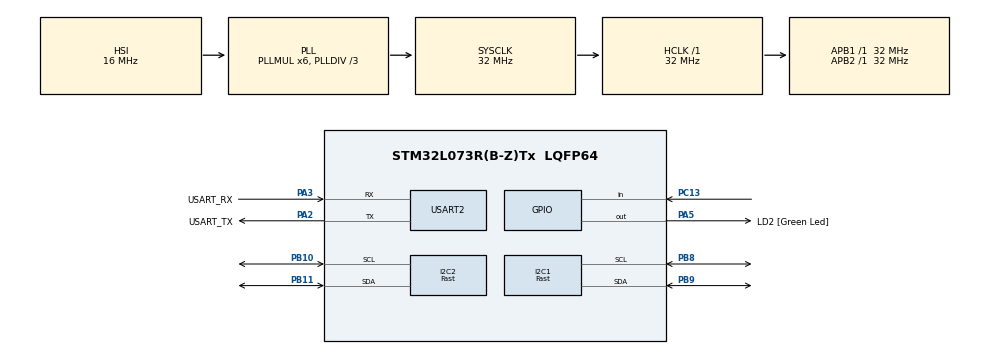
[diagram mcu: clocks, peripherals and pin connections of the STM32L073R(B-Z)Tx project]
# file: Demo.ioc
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FREERTOS.BinarySemaphores01=sem,Dynamic,NULL
FREERTOS.Queues01=Cnt_Queue,2,uint16_t,0,Dynamic,NULL,NULL
FREERTOS.Tasks01=defaultTask,0,128,StartDefaultTask,Default,NULL,Dynamic,NULL,NULL;Counter,0,128,CntHandle,Default,NULL,Dynamic,NULL,NULL;OLED_Driver,1,128,OLED_Handler,Default,NULL,Dynamic,NULL,NULL;led_on,0,128,ledOn,Default,NULL,Dynamic,NULL,NULL;led_off,0,128,ledOFF,Default,NULL,Dynamic,NULL,NULL
FREERTOS.configTOTAL_HEAP_SIZE=4096
I2C1.I2C_Speed_Mode=I2C_Fast
I2C1.Timing=0x0010061A
I2C2.I2C_Speed_Mode=I2C_Fast
I2C2.Timing=0x00300F38
Mcu.Family=STM32L0
Mcu.Name=STM32L073R(B-Z)Tx
Mcu.Package=LQFP64
NVIC.TIM7_IRQn=true\:0\:0\:false\:false\:true\:false\:false\:true
NVIC.TimeBase=TIM7_IRQn
NVIC.TimeBaseIP=TIM7
PA13.GPIO_Label=TMS
PA13.Mode=Serial_Wire
PA13.Signal=SYS_SWDIO
PA14.GPIO_Label=TCK
PA14.Mode=Serial_Wire
PA14.Signal=SYS_SWCLK
PA2.GPIO_Label=USART_TX
PA2.Mode=Asynchronous
PA2.Signal=USART2_TX
PA3.GPIO_Label=USART_RX
PA3.Mode=Asynchronous
PA3.Signal=USART2_RX
PA5.GPIO_Label=LD2 [Green Led]
PA5.Signal=GPIO_Output
PB10.Mode=I2C
PB10.Signal=I2C2_SCL
PB11.Mode=I2C
PB11.Signal=I2C2_SDA
PB8.Mode=I2C
PB8.Signal=I2C1_SCL
PB9.Mode=I2C
PB9.Signal=I2C1_SDA
PC13.GPIO_PuPd=GPIO_PULLUP
PC13.Signal=GPIO_Input
PC14-OSC32_IN.Mode=LSE-External-Oscillator
PC14-OSC32_IN.Signal=RCC_OSC32_IN
PC15-OSC32_OUT.Mode=LSE-External-Oscillator
PC15-OSC32_OUT.Signal=RCC_OSC32_OUT
PH0-OSC_IN.GPIO_Label=MCO
PH0-OSC_IN.Mode=HSE-External-Clock-Source
PH0-OSC_IN.Signal=RCC_OSC_IN
ProjectManager.HeapSize=0x200
ProjectManager.StackSize=0x400
ProjectManager.TargetToolchain=MDK-ARM V5
RCC.ADCFreq_Value=16000000
RCC.AHBFreq_Value=32000000
RCC.APB1Freq_Value=32000000
RCC.APB1TimFreq_Value=32000000
RCC.APB2Freq_Value=32000000
RCC.APB2TimFreq_Value=32000000
RCC.HCLKFreq_Value=32000000
RCC.HSE_VALUE=8000000
RCC.HSI16_VALUE=16000000
RCC.HSI48_VALUE=48000000
RCC.HSI_VALUE=16000000
RCC.I2c1ClockSelection=RCC_I2C1CLKSOURCE_HSI
RCC.MSI_VALUE=2097000
RCC.PLLDIV=RCC_PLLDIV_3
RCC.PLLMUL=RCC_PLLMUL_6
RCC.RTCClockSelection=RCC_RTCCLKSOURCE_LSE
RCC.RTCClockSelectionVirtual=RCC_RTCCLKSOURCE_LSE
RCC.SYSCLKFreq_VALUE=32000000
RCC.SYSCLKSource=RCC_SYSCLKSOURCE_PLLCLK
RCC.VCOOutputFreq_Value=96000000
RTC.Date=21
RTC.Hours=14
RTC.Minutes=50
RTC.Month=RTC_MONTH_DECEMBER
RTC.WeekDay=RTC_WEEKDAY_MONDAY
USART2.VirtualMode-Asynchronous=VM_ASYNC
VP_FREERTOS_VS_CMSIS_V1.Mode=CMSIS_V1
VP_RTC_VS_RTC_Activate.Mode=RTC_Enabled
VP_RTC_VS_RTC_Calendar.Mode=RTC_Calendar
VP_SYS_VS_tim7.Mode=TIM7
board=NUCLEO-L073RZ

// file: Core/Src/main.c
/* USER CODE BEGIN Header */
/**
  ******************************************************************************
  * @file           : main.c
  * @brief          : Main program body
  ******************************************************************************
  * @attention
  *
  * <h2><center>&copy; Copyright (c) 2020 STMicroelectronics.
  * All rights reserved.</center></h2>
  *
  * This software component is licensed by ST under BSD 3-Clause license,
  * the "License"; You may not use this file except in compliance with the
  * License. You may obtain a copy of the License at:
  *                        opensource.org/licenses/BSD-3-Clause
  *
  ******************************************************************************
  */
/* USER CODE END Header */
#include "main.h"
#include "cmsis_os.h"

/* USER CODE BEGIN PTD */
#include "fonts.h"
#include "ssd1306.h"
#include "print.h"
/* USER CODE END PTD */

I2C_HandleTypeDef hi2c1;
I2C_HandleTypeDef hi2c2;

RTC_HandleTypeDef hrtc;

UART_HandleTypeDef huart2;

osThreadId defaultTaskHandle;
osThreadId CounterHandle;
osThreadId OLED_DriverHandle;
osThreadId led_onHandle;
osThreadId led_offHandle;
osMessageQId Cnt_QueueHandle;
osSemaphoreId semHandle;
/* USER CODE BEGIN PV */
#include <stdbool.h>
/* USER CODE END PV */

void SystemClock_Config(void);
static void MX_GPIO_Init(void);
static void MX_USART2_UART_Init(void);
static void MX_I2C1_Init(void);
static void MX_RTC_Init(void);
static void MX_I2C2_Init(void);
void StartDefaultTask(void const * argument);
void CntHandle(void const * argument);
void OLED_Handler(void const * argument);
void ledOn(void const * argument);
void ledOFF(void const * argument);

/* USER CODE BEGIN 0 */
RTC_DateTypeDef gDate;
RTC_TimeTypeDef gTime;
static void clock(void);
bool toggle = true;
/* USER CODE END 0 */

int main(void)
{

  /* MCU Configuration--------------------------------------------------------*/

  /* Reset of all peripherals, Initializes the Flash interface and the Systick. */
  HAL_Init();

  /* Configure the system clock */
  SystemClock_Config();

  /* Initialize all configured peripherals */
  MX_GPIO_Init();
  MX_USART2_UART_Init();
  MX_I2C1_Init();
  MX_RTC_Init();
  MX_I2C2_Init();
  /* USER CODE BEGIN 2 */
	SSD1306_Init();

  /* USER CODE END 2 */

  /* Create the semaphores(s) */
  /* definition and creation of sem */
  osSemaphoreDef(sem);
  semHandle = osSemaphoreCreate(osSemaphore(sem), 1);

  /* Create the queue(s) */
  /* definition and creation of Cnt_Queue */
  osMessageQDef(Cnt_Queue, 2, uint16_t);
  Cnt_QueueHandle = osMessageCreate(osMessageQ(Cnt_Queue), NULL);

  /* Create the thread(s) */
  /* definition and creation of defaultTask */
  osThreadDef(defaultTask, StartDefaultTask, osPriorityNormal, 0, 128);
  defaultTaskHandle = osThreadCreate(osThread(defaultTask), NULL);

  /* definition and creation of Counter */
  osThreadDef(Counter, CntHandle, osPriorityNormal, 0, 128);
  CounterHandle = osThreadCreate(osThread(Counter), NULL);

  /* definition and creation of OLED_Driver */
  osThreadDef(OLED_Driver, OLED_Handler, osPriorityAboveNormal, 0, 128);
  OLED_DriverHandle = osThreadCreate(osThread(OLED_Driver), NULL);

  /* definition and creation of led_on */
  osThreadDef(led_on, ledOn, osPriorityNormal, 0, 128);
  led_onHandle = osThreadCreate(osThread(led_on), NULL);

  /* definition and creation of led_off */
  osThreadDef(led_off, ledOFF, osPriorityNormal, 0, 128);
  led_offHandle = osThreadCreate(osThread(led_off), NULL);

  /* Start scheduler */
  osKernelStart();

  /* We should never get here as control is now taken by the scheduler */
  /* Infinite loop */
  while (1)
  {

  }
}

void SystemClock_Config(void)
{
  RCC_OscInitTypeDef RCC_OscInitStruct = {0};
  RCC_ClkInitTypeDef RCC_ClkInitStruct = {0};
  RCC_PeriphCLKInitTypeDef PeriphClkInit = {0};

  /** Configure the main internal regulator output voltage
  */
  __HAL_PWR_VOLTAGESCALING_CONFIG(PWR_REGULATOR_VOLTAGE_SCALE1);
  /** Configure LSE Drive Capability
  */
  HAL_PWR_EnableBkUpAccess();
  __HAL_RCC_LSEDRIVE_CONFIG(RCC_LSEDRIVE_LOW);
  /** Initializes the RCC Oscillators according to the specified parameters
  * in the RCC_OscInitTypeDef structure.
  */
  RCC_OscInitStruct.OscillatorType = RCC_OSCILLATORTYPE_HSI|RCC_OSCILLATORTYPE_LSE;
  RCC_OscInitStruct.LSEState = RCC_LSE_ON;
  RCC_OscInitStruct.HSIState = RCC_HSI_ON;
  RCC_OscInitStruct.HSICalibrationValue = RCC_HSICALIBRATION_DEFAULT;
  RCC_OscInitStruct.PLL.PLLState = RCC_PLL_ON;
  RCC_OscInitStruct.PLL.PLLSource = RCC_PLLSOURCE_HSI;
  RCC_OscInitStruct.PLL.PLLMUL = RCC_PLLMUL_6;
  RCC_OscInitStruct.PLL.PLLDIV = RCC_PLLDIV_3;
  if (HAL_RCC_OscConfig(&RCC_OscInitStruct) != HAL_OK)
  {
    Error_Handler();
  }
  /** Initializes the CPU, AHB and APB buses clocks
  */
  RCC_ClkInitStruct.ClockType = RCC_CLOCKTYPE_HCLK|RCC_CLOCKTYPE_SYSCLK
                              |RCC_CLOCKTYPE_PCLK1|RCC_CLOCKTYPE_PCLK2;
  RCC_ClkInitStruct.SYSCLKSource = RCC_SYSCLKSOURCE_PLLCLK;
  RCC_ClkInitStruct.AHBCLKDivider = RCC_SYSCLK_DIV1;
  RCC_ClkInitStruct.APB1CLKDivider = RCC_HCLK_DIV1;
  RCC_ClkInitStruct.APB2CLKDivider = RCC_HCLK_DIV1;

  if (HAL_RCC_ClockConfig(&RCC_ClkInitStruct, FLASH_LATENCY_1) != HAL_OK)
  {
    Error_Handler();
  }
  PeriphClkInit.PeriphClockSelection = RCC_PERIPHCLK_USART2|RCC_PERIPHCLK_I2C1
                              |RCC_PERIPHCLK_RTC;
  PeriphClkInit.Usart2ClockSelection = RCC_USART2CLKSOURCE_PCLK1;
  PeriphClkInit.I2c1ClockSelection = RCC_I2C1CLKSOURCE_HSI;
  PeriphClkInit.RTCClockSelection = RCC_RTCCLKSOURCE_LSE;
  if (HAL_RCCEx_PeriphCLKConfig(&PeriphClkInit) != HAL_OK)
  {
    Error_Handler();
  }
}

static void MX_I2C1_Init(void)
{

  hi2c1.Instance = I2C1;
  hi2c1.Init.Timing = 0x0010061A;
  hi2c1.Init.OwnAddress1 = 0;
  hi2c1.Init.AddressingMode = I2C_ADDRESSINGMODE_7BIT;
  hi2c1.Init.DualAddressMode = I2C_DUALADDRESS_DISABLE;
  hi2c1.Init.OwnAddress2 = 0;
  hi2c1.Init.OwnAddress2Masks = I2C_OA2_NOMASK;
  hi2c1.Init.GeneralCallMode = I2C_GENERALCALL_DISABLE;
  hi2c1.Init.NoStretchMode = I2C_NOSTRETCH_DISABLE;
  if (HAL_I2C_Init(&hi2c1) != HAL_OK)
  {
    Error_Handler();
  }
  /** Configure Analogue filter
  */
  if (HAL_I2CEx_ConfigAnalogFilter(&hi2c1, I2C_ANALOGFILTER_ENABLE) != HAL_OK)
  {
    Error_Handler();
  }
  /** Configure Digital filter
  */
  if (HAL_I2CEx_ConfigDigitalFilter(&hi2c1, 0) != HAL_OK)
  {
    Error_Handler();
  }

}

static void MX_I2C2_Init(void)
{

  hi2c2.Instance = I2C2;
  hi2c2.Init.Timing = 0x00300F38;
  hi2c2.Init.OwnAddress1 = 0;
  hi2c2.Init.AddressingMode = I2C_ADDRESSINGMODE_7BIT;
  hi2c2.Init.DualAddressMode = I2C_DUALADDRESS_DISABLE;
  hi2c2.Init.OwnAddress2 = 0;
  hi2c2.Init.OwnAddress2Masks = I2C_OA2_NOMASK;
  hi2c2.Init.GeneralCallMode = I2C_GENERALCALL_DISABLE;
  hi2c2.Init.NoStretchMode = I2C_NOSTRETCH_DISABLE;
  if (HAL_I2C_Init(&hi2c2) != HAL_OK)
  {
    Error_Handler();
  }
  /** Configure Analogue filter
  */
  if (HAL_I2CEx_ConfigAnalogFilter(&hi2c2, I2C_ANALOGFILTER_ENABLE) != HAL_OK)
  {
    Error_Handler();
  }
  /** Configure Digital filter
  */
  if (HAL_I2CEx_ConfigDigitalFilter(&hi2c2, 0) != HAL_OK)
  {
    Error_Handler();
  }

}

static void MX_RTC_Init(void)
{

  RTC_TimeTypeDef sTime = {0};
  RTC_DateTypeDef sDate = {0};

  /** Initialize RTC Only
  */
  hrtc.Instance = RTC;
  hrtc.Init.HourFormat = RTC_HOURFORMAT_24;
  hrtc.Init.AsynchPrediv = 127;
  hrtc.Init.SynchPrediv = 255;
  hrtc.Init.OutPut = RTC_OUTPUT_DISABLE;
  hrtc.Init.OutPutRemap = RTC_OUTPUT_REMAP_NONE;
  hrtc.Init.OutPutPolarity = RTC_OUTPUT_POLARITY_HIGH;
  hrtc.Init.OutPutType = RTC_OUTPUT_TYPE_OPENDRAIN;
  if (HAL_RTC_Init(&hrtc) != HAL_OK)
  {
    Error_Handler();
  }

  /** Initialize RTC and set the Time and Date
  */
  sTime.Hours = 0x3;
  sTime.Minutes = 0x00;
  sTime.Seconds = 0x0;
  sTime.DayLightSaving = RTC_DAYLIGHTSAVING_NONE;
  sTime.StoreOperation = RTC_STOREOPERATION_RESET;
  if (HAL_RTC_SetTime(&hrtc, &sTime, RTC_FORMAT_BCD) != HAL_OK)
  {
    Error_Handler();
  }
  sDate.WeekDay = RTC_WEEKDAY_MONDAY;
  sDate.Month = RTC_MONTH_JANUARY;
  sDate.Date = 0x18;
  sDate.Year = 0x21;

  if (HAL_RTC_SetDate(&hrtc, &sDate, RTC_FORMAT_BCD) != HAL_OK)
  {
    Error_Handler();
  }

}

static void MX_USART2_UART_Init(void)
{

  huart2.Instance = USART2;
  huart2.Init.BaudRate = 115200;
  huart2.Init.WordLength = UART_WORDLENGTH_8B;
  huart2.Init.StopBits = UART_STOPBITS_1;
  huart2.Init.Parity = UART_PARITY_NONE;
  huart2.Init.Mode = UART_MODE_TX_RX;
  huart2.Init.HwFlowCtl = UART_HWCONTROL_NONE;
  huart2.Init.OverSampling = UART_OVERSAMPLING_16;
  huart2.Init.OneBitSampling = UART_ONE_BIT_SAMPLE_DISABLE;
  huart2.AdvancedInit.AdvFeatureInit = UART_ADVFEATURE_NO_INIT;
  if (HAL_UART_Init(&huart2) != HAL_OK)
  {
    Error_Handler();
  }

}

static void MX_GPIO_Init(void)
{
  GPIO_InitTypeDef GPIO_InitStruct = {0};

  /* GPIO Ports Clock Enable */
  __HAL_RCC_GPIOC_CLK_ENABLE();
  __HAL_RCC_GPIOH_CLK_ENABLE();
  __HAL_RCC_GPIOA_CLK_ENABLE();
  __HAL_RCC_GPIOB_CLK_ENABLE();

  /*Configure GPIO pin Output Level */
  HAL_GPIO_WritePin(LD2_GPIO_Port, LD2_Pin, GPIO_PIN_RESET);

  /*Configure GPIO pin : PC13 */
  GPIO_InitStruct.Pin = GPIO_PIN_13;
  GPIO_InitStruct.Mode = GPIO_MODE_INPUT;
  GPIO_InitStruct.Pull = GPIO_PULLUP;
  HAL_GPIO_Init(GPIOC, &GPIO_InitStruct);

  /*Configure GPIO pin : LD2_Pin */
  GPIO_InitStruct.Pin = LD2_Pin;
  GPIO_InitStruct.Mode = GPIO_MODE_OUTPUT_PP;
  GPIO_InitStruct.Pull = GPIO_NOPULL;
  GPIO_InitStruct.Speed = GPIO_SPEED_FREQ_LOW;
  HAL_GPIO_Init(LD2_GPIO_Port, &GPIO_InitStruct);

}

/* USER CODE BEGIN 4 */
static void clock(){

	 /* Get the RTC current Time */
	  HAL_RTC_GetTime(&hrtc, &gTime, RTC_FORMAT_BIN);
	 /* Get the RTC current Date */
	  HAL_RTC_GetDate(&hrtc, &gDate, RTC_FORMAT_BIN);

	  SSD1306_Clear();
	  SSD1306_GotoXY (15,0);
		char data[16];

		if(toggle) sprintf(data, "%02d:%02d",gTime.Hours,gTime.Minutes);
	  else sprintf(data, "%02d %02d",gTime.Hours,gTime.Minutes);
	  SSD1306_Puts(data,&Font_16x26,(SSD1306_COLOR_t)1);

	  sprintf(data, ":%02d",gTime.Seconds);
	  SSD1306_Puts(data,&Font_7x10,(SSD1306_COLOR_t)1);
	  SSD1306_GotoXY(15,25);

		sprintf(data, "%02d/%02d/%02d",gDate.Date, gDate.Month, gDate.Year);
		SSD1306_Puts(data, &Font_11x18,(SSD1306_COLOR_t)1);

	  if (gTime.Hours >= 5 && gTime.Hours < 12){
		  SSD1306_GotoXY(5,50);
		  SSD1306_Puts("Good Morning :)",&Font_7x10,(SSD1306_COLOR_t)1);
	  }
	  if (gTime.Hours >= 12 && gTime.Hours <= 16) {
		  SSD1306_GotoXY(5,50);
		  SSD1306_Puts("Good Afternoon :)",&Font_7x10,(SSD1306_COLOR_t)1);
	  }
	  if (gTime.Hours > 16 && gTime.Hours < 20   ) {
		  SSD1306_GotoXY(5,50);
		  SSD1306_Puts("Good Evening :)",&Font_7x10,(SSD1306_COLOR_t)1);
	  }
	  if (gTime.Hours >= 20  || gTime.Hours <= 4  ) {
		  SSD1306_GotoXY(5,50);
		  SSD1306_Puts("Good Night :)",&Font_7x10,(SSD1306_COLOR_t)1);
	  }

	  toggle = !toggle;
}
/* USER CODE END 4 */

void StartDefaultTask(void const * argument)
{
  for(;;)
  {
    osDelay(1);
  }
}

void CntHandle(void const * argument)
{
  /* USER CODE BEGIN CntHandle */
	uint8_t cnt = 0;
  /* Infinite loop */
  for(;;)
  {
		if(HAL_GPIO_ReadPin(GPIOC,GPIO_PIN_13) == GPIO_PIN_RESET){
			while(HAL_GPIO_ReadPin(GPIOC,GPIO_PIN_13) == GPIO_PIN_RESET);
			cnt++;
			osMessagePut(Cnt_QueueHandle,cnt,osWaitForever);
			osDelay(100);
		}
		osDelay(100);
  }
  /* USER CODE END CntHandle */
}

void OLED_Handler(void const * argument)
{
  /* USER CODE BEGIN OLED_Handler */
	osEvent evt;
	uint8_t counter = 0;
  /* Infinite loop */
  for(;;)
  {
		evt = osMessageGet(Cnt_QueueHandle,1);
		HAL_RTC_GetTime(&hrtc, &gTime, RTC_FORMAT_BIN);
	 /* Get the RTC current Date */
	  HAL_RTC_GetDate(&hrtc, &gDate, RTC_FORMAT_BIN);

		if(evt.status == osEventMessage) counter = evt.value.v;
		printMsg("%d : %d : %d | counter: %d \r \n", gTime.Hours,gTime.Minutes,gTime.Seconds, counter);
		clock();
		SSD1306_GotoXY(1,1);
		char data [2];
		sprintf(data,"%d",counter);
	  SSD1306_Puts ( data, &Font_7x10, (SSD1306_COLOR_t)1);
    SSD1306_UpdateScreen();
    osDelay(1000);
  }
  /* USER CODE END OLED_Handler */
}

void ledOn(void const * argument)
{
  /* USER CODE BEGIN ledOn */
  /* Infinite loop */
  for(;;)
  {
    xSemaphoreTake(semHandle,osWaitForever);
		HAL_GPIO_TogglePin(GPIOA,GPIO_PIN_5);
		osDelay(1000);
		xSemaphoreGive(semHandle);

  }
  /* USER CODE END ledOn */
}

void ledOFF(void const * argument)
{
  /* USER CODE BEGIN ledOFF */
  /* Infinite loop */
  for(;;)
  {
		xSemaphoreTake(semHandle,osWaitForever);
		HAL_GPIO_TogglePin(LD2_GPIO_Port,LD2_Pin);
		osDelay(1000);
		xSemaphoreGive(semHandle);

  }
  /* USER CODE END ledOFF */
}

void HAL_TIM_PeriodElapsedCallback(TIM_HandleTypeDef *htim)
{
  if (htim->Instance == TIM7) {
    HAL_IncTick();
  }
}

void Error_Handler(void)
{
}

/************************ (C) COPYRIGHT STMicroelectronics *****END OF FILE****/
